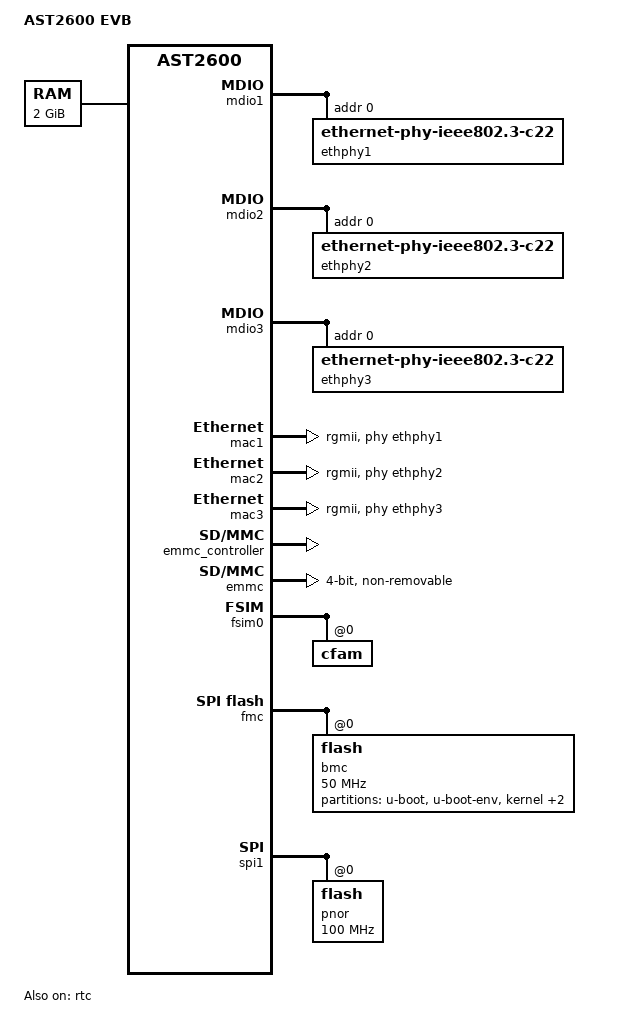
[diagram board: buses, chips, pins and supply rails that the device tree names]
// SPDX-License-Identifier: GPL-2.0-or-later
// Copyright 2019 IBM Corp.

/dts-v1/;

#include "aspeed-g6.dtsi"

/ {
	model = "AST2600 EVB";
	compatible = "aspeed,ast2600";

	aliases {
		serial4 = &uart5;
	};

	chosen {
		bootargs = "console=ttyS4,115200n8";
	};

	memory@80000000 {
		device_type = "memory";
		reg = <0x80000000 0x80000000>;
	};
};

&mdio1 {
	status = "okay";

	ethphy1: ethernet-phy@0 {
		compatible = "ethernet-phy-ieee802.3-c22";
		reg = <0>;
	};
};

&mdio2 {
	status = "okay";

	ethphy2: ethernet-phy@0 {
		compatible = "ethernet-phy-ieee802.3-c22";
		reg = <0>;
	};
};

&mdio3 {
	status = "okay";

	ethphy3: ethernet-phy@0 {
		compatible = "ethernet-phy-ieee802.3-c22";
		reg = <0>;
	};
};

&mac1 {
	status = "okay";

	phy-mode = "rgmii";
	phy-handle = <&ethphy1>;

	pinctrl-names = "default";
	pinctrl-0 = <&pinctrl_rgmii2_default>;
};

&mac2 {
	status = "okay";

	phy-mode = "rgmii";
	phy-handle = <&ethphy2>;

	pinctrl-names = "default";
	pinctrl-0 = <&pinctrl_rgmii3_default>;
};

&mac3 {
	status = "okay";

	phy-mode = "rgmii";
	phy-handle = <&ethphy3>;

	pinctrl-names = "default";
	pinctrl-0 = <&pinctrl_rgmii4_default>;
};

&emmc_controller {
	status = "okay";
};

&emmc {
	non-removable;
	bus-width = <4>;
	max-frequency = <52000000>;
};

&rtc {
	status = "okay";
};

&fsim0 {
	status = "okay";
	#address-cells = <2>;
	#size-cells = <0>;

	cfam@0,0 {
		reg = <0 0>;
		#address-cells = <1>;
		#size-cells = <1>;
		chip-id = <0>;

		scom@1000 {
			compatible = "ibm,fsi2pib";
			reg = <0x1000 0x400>;
		};

		i2c@1800 {
			compatible = "ibm,fsi-i2c-master";
			reg = <0x1800 0x400>;
			#address-cells = <1>;
			#size-cells = <0>;

			cfam0_i2c0: i2c-bus@0 {
				reg = <0>;
			};

			cfam0_i2c1: i2c-bus@1 {
				reg = <1>;
			};

			cfam0_i2c2: i2c-bus@2 {
				reg = <2>;
			};

			cfam0_i2c3: i2c-bus@3 {
				reg = <3>;
			};

			cfam0_i2c4: i2c-bus@4 {
				reg = <4>;
			};

			cfam0_i2c5: i2c-bus@5 {
				reg = <5>;
			};

			cfam0_i2c6: i2c-bus@6 {
				reg = <6>;
			};

			cfam0_i2c7: i2c-bus@7 {
				reg = <7>;
			};

			cfam0_i2c8: i2c-bus@8 {
				reg = <8>;
			};

			cfam0_i2c9: i2c-bus@9 {
				reg = <9>;
			};

			cfam0_i2c10: i2c-bus@a {
				reg = <10>;
			};

			cfam0_i2c11: i2c-bus@b {
				reg = <11>;
			};

			cfam0_i2c12: i2c-bus@c {
				reg = <12>;
			};

			cfam0_i2c13: i2c-bus@d {
				reg = <13>;
			};

			cfam0_i2c14: i2c-bus@e {
				reg = <14>;
			};
		};

		sbefifo@2400 {
			compatible = "ibm,p9-sbefifo";
			reg = <0x2400 0x400>;
			#address-cells = <1>;
			#size-cells = <0>;

			fsi_occ0: occ {
				compatible = "ibm,p9-occ";
			};
		};

		fsi_hub0: hub@3400 {
			compatible = "fsi-master-hub";
			reg = <0x3400 0x400>;
			#address-cells = <2>;
			#size-cells = <0>;

			no-scan-on-init;
		};
	};
};

&fsi_hub0 {
	cfam@1,0 {
		reg = <1 0>;
		#address-cells = <1>;
		#size-cells = <1>;
		chip-id = <1>;

		scom@1000 {
			compatible = "ibm,fsi2pib";
			reg = <0x1000 0x400>;
		};

		i2c@1800 {
			compatible = "ibm,fsi-i2c-master";
			reg = <0x1800 0x400>;
			#address-cells = <1>;
			#size-cells = <0>;

			cfam1_i2c0: i2c-bus@0 {
				reg = <0>;
			};

			cfam1_i2c1: i2c-bus@1 {
				reg = <1>;
			};

			cfam1_i2c2: i2c-bus@2 {
				reg = <2>;
			};

			cfam1_i2c3: i2c-bus@3 {
				reg = <3>;
			};

			cfam1_i2c4: i2c-bus@4 {
				reg = <4>;
			};

			cfam1_i2c5: i2c-bus@5 {
				reg = <5>;
			};

			cfam1_i2c6: i2c-bus@6 {
				reg = <6>;
			};

			cfam1_i2c7: i2c-bus@7 {
				reg = <7>;
			};

			cfam1_i2c8: i2c-bus@8 {
				reg = <8>;
			};

			cfam1_i2c9: i2c-bus@9 {
				reg = <9>;
			};

			cfam1_i2c10: i2c-bus@a {
				reg = <10>;
			};

			cfam1_i2c11: i2c-bus@b {
				reg = <11>;
			};

			cfam1_i2c12: i2c-bus@c {
				reg = <12>;
			};

			cfam1_i2c13: i2c-bus@d {
				reg = <13>;
			};

			cfam1_i2c14: i2c-bus@e {
				reg = <14>;
			};
		};

		sbefifo@2400 {
			compatible = "ibm,p9-sbefifo";
			reg = <0x2400 0x400>;
			#address-cells = <1>;
			#size-cells = <0>;

			fsi_occ1: occ {
				compatible = "ibm,p9-occ";
			};
		};

		fsi_hub1: hub@3400 {
			compatible = "fsi-master-hub";
			reg = <0x3400 0x400>;
			#address-cells = <2>;
			#size-cells = <0>;

			no-scan-on-init;
		};
	};
};

/* Legacy OCC numbering (to get rid of when userspace is fixed) */
&fsi_occ0 {
	reg = <1>;
};

&fsi_occ1 {
	reg = <2>;
};

/ {
	aliases {
		i2c100 = &cfam0_i2c0;
		i2c101 = &cfam0_i2c1;
		i2c102 = &cfam0_i2c2;
		i2c103 = &cfam0_i2c3;
		i2c104 = &cfam0_i2c4;
		i2c105 = &cfam0_i2c5;
		i2c106 = &cfam0_i2c6;
		i2c107 = &cfam0_i2c7;
		i2c108 = &cfam0_i2c8;
		i2c109 = &cfam0_i2c9;
		i2c110 = &cfam0_i2c10;
		i2c111 = &cfam0_i2c11;
		i2c112 = &cfam0_i2c12;
		i2c113 = &cfam0_i2c13;
		i2c114 = &cfam0_i2c14;
		i2c200 = &cfam1_i2c0;
		i2c201 = &cfam1_i2c1;
		i2c202 = &cfam1_i2c2;
		i2c203 = &cfam1_i2c3;
		i2c204 = &cfam1_i2c4;
		i2c205 = &cfam1_i2c5;
		i2c206 = &cfam1_i2c6;
		i2c207 = &cfam1_i2c7;
		i2c208 = &cfam1_i2c8;
		i2c209 = &cfam1_i2c9;
		i2c210 = &cfam1_i2c10;
		i2c211 = &cfam1_i2c11;
		i2c212 = &cfam1_i2c12;
		i2c213 = &cfam1_i2c13;
		i2c214 = &cfam1_i2c14;
	};

};

&fmc {
	status = "okay";
	flash@0 {
		status = "okay";
		m25p,fast-read;
		label = "bmc";
		spi-max-frequency = <50000000>;

		partitions {
			compatible = "fixed-partitions";
			#address-cells = <1>;
			#size-cells = <1>;

			u-boot@0 {
				reg = <0x0 0xe0000>; // 896KB
				label = "u-boot";
			};

			u-boot-env@e0000 {
				reg = <0xe0000 0x20000>; // 128KB
				label = "u-boot-env";
			};

			kernel@100000 {
				reg = <0x100000 0x900000>; // 9MB
				label = "kernel";
			};

			rofs@a00000 {
				reg = <0xa00000 0x2000000>; // 32MB
				label = "rofs";
			};

			rwfs@6000000 {
				reg = <0x2a00000 0x1600000>; // 22MB
				label = "rwfs";
			};
		};
	};
};

&spi1 {
	status = "okay";
	pinctrl-names = "default";
	pinctrl-0 = <&pinctrl_spi1_default>;

	flash@0 {
		status = "okay";
		m25p,fast-read;
		label = "pnor";
		spi-max-frequency = <100000000>;
	};
};

&uart5 {
	// Workaround for A0
	compatible = "snps,dw-apb-uart";
};
